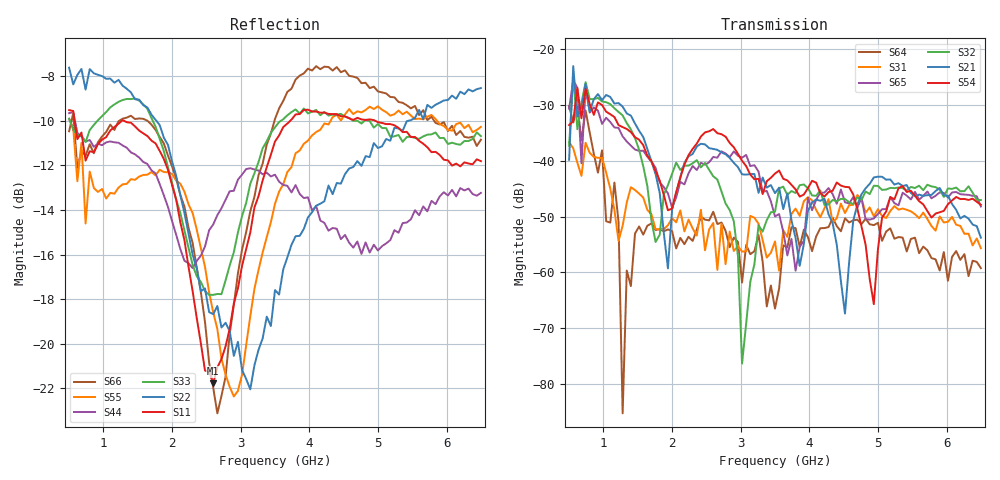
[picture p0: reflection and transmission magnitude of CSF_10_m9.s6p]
!Keysight Technologies,M9804A,MY58100912,A.14.10.03
!Date: Thursday, April 27, 2023 10:28:33
!Correction: S11(C  6-Port  )
!S12(C  6-Port  )
!S13(C  6-Port  )
!S14(C  6-Port  )
!S15(C  6-Port  )
!S16(C  6-Port  )
!S21(C  6-Port  )
!S22(C  6-Port  )
!S23(C  6-Port  )
!S24(C  6-Port  )
!S25(C  6-Port  )
!S26(C  6-Port  )
!S31(C  6-Port  )
!S32(C  6-Port  )
!S33(C  6-Port  )
!S34(C  6-Port  )
!S35(C  6-Port  )
!S36(C  6-Port  )
!S41(C  6-Port  )
!S42(C  6-Port  )
!S43(C  6-Port  )
!S44(C  6-Port  )
!S45(C  6-Port  )
!S46(C  6-Port  )
!S51(C  6-Port  )
!S52(C  6-Port  )
!S53(C  6-Port  )
!S54(C  6-Port  )
!S55(C  6-Port  )
!S56(C  6-Port  )
!S61(C  6-Port  )
!S62(C  6-Port  )
!S63(C  6-Port  )
!S64(C  6-Port  )
!S65(C  6-Port  )
!S66(C  6-Port  )
!S6P File: Measurement: :
# Hz S  RI  R 50
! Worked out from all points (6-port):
!   101 points, 500 MHz to 6.5 GHz, reference 50 ohm
!   strongest paths, dB at 500 MHz, 2 GHz, 3.5 GHz, 5 GHz, 6.5 GHz:
!     S54: -33.6, -48.6, -42.3, -55.8, -47.9
!     S21: -39.8, -48.8, -45.8, -42.8, -53.8
!     S32: -37.3, -42.3, -49.1, -44.5, -47.0
!     S65: -30.6, -48.4, -50.0, -49.5, -48.2
!     S31: -36.6, -50.3, -54.5, -48.7, -55.7
!     S64: -30.2, -52.6, -66.5, -51.1, -59.2
!   lowest |S11| = -21.8 dB at 2.6 GHz (marker M1), VSWR 1.18, Z = 42.7 + j1.93 ohm
!   |S11| at or under -10 dB: 581.3 MHz to 1.266 GHz (684.4 MHz wide, 74.1 % of centre); 1.304 GHz to 3.719 GHz (2.415 GHz wide, 96.2 % of centre); 4.965 GHz to end of sweep
